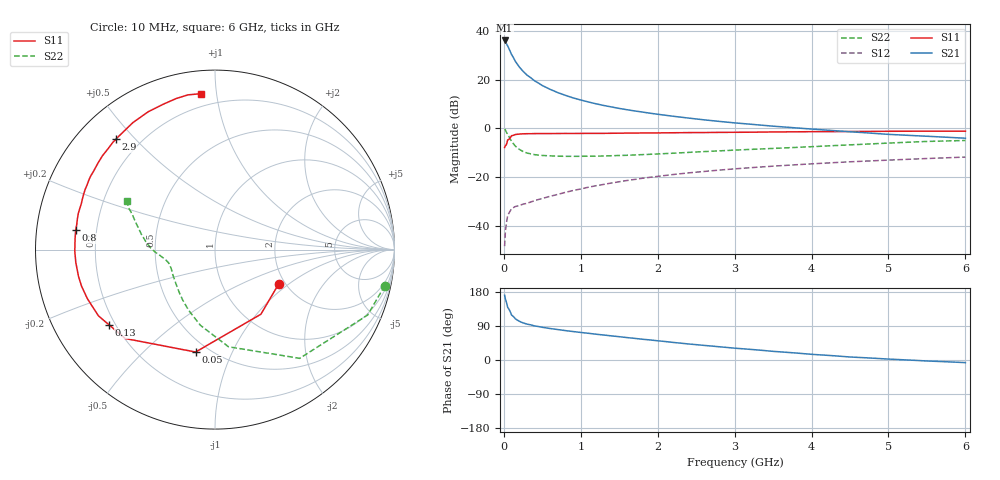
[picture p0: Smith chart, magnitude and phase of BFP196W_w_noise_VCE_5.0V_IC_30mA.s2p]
! Infineon Technologies  Discrete & RF Semiconductors
! BFP196W
! VCE =  5.0 V,  IC =  30 mA
! Common Emitter S-Parameters:  Jan 2017
# GHz  S  MA  R  50
!  f  S11  S21  S12  S22
! GHz  MAG  ANG  MAG  ANG  MAG  ANG  MAG  ANG
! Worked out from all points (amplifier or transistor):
!   77 points, 10 MHz to 6 GHz, reference 50 ohm
!   highest |S21| = 36.1 dB at 10 MHz (marker M1)
!   |S21| within 3 dB of that: start of sweep to 61.34 MHz
!   unconditionally stable (mu >= 1): 839.2 MHz to 3.268 GHz
!   at 130 MHz: K = 0.31, MSG = 30.6 dB, |S12| = -32.5 dB
!   at 2.2 GHz: K = 1.04, MAG = 10.7 dB, |S12| = -19.0 dB
!   at 6 GHz: K = 0.93, MSG = 3.9 dB, |S12| = -11.8 dB
!   lowest NFmin = 1.13 dB at 450 MHz
!   S11 on the Smith chart (normalised r, x): 10 MHz: 1.86, -0.84; 50 MHz: 0.43, -0.73; 130 MHz: 0.18, -0.31; 800 MHz: 0.12, +0.07; 2.9 GHz: 0.11, +0.44; 6 GHz: 0.12, +0.91
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0.01  0.4032 -28.0  63.7 170.9  0.0038 79.5  0.9668 -12.0
0.02  0.4416 -54.6  61.15 161.1  0.0075 78.3  0.9254 -23.2
0.05  0.5808 -100.7  49.2 139.0  0.0162 54.8  0.7679 -52.1
0.1  0.7042 -135.3  32.84 118.7  0.0223 41.7  0.5467 -82.1
0.13  0.7239 -144.6  27.23 113.5  0.0238 38.6  0.4704 -92.2
0.15  0.747 -150.4  23.68 108.6  0.0248 36.8  0.4301 -100.8
0.2  0.7619 -159.0  18.26 102.3  0.0259 36.9  0.3704 -113.1
0.25  0.771 -164.7  14.82 97.9  0.0277 37.8  0.3342 -122.5
0.3  0.775 -168.9  12.43 94.8  0.0288 38.9  0.3115 -129.6
0.4  0.7788 -174.7  9.439 89.9  0.0327 43.6  0.2878 -139.4
0.5  0.7811 -179.1  7.563 86.3  0.0363 46.4  0.277 -146.1
0.6  0.781 177.6  6.331 83.1  0.0401 48.9  0.272 -150.8
0.7  0.7822 174.9  5.423 80.4  0.0439 51.6  0.2676 -154.3
0.8  0.7837 172.0  4.754 77.6  0.0484 54.1  0.2661 -156.6
1.1  0.7878 165.1  3.473 70.5  0.0618 56.6  0.2676 -161.9
1.5  0.7945 157.0  2.56 61.5  0.0799 57.4  0.2765 -167.0
2.1  0.8074 145.5  1.855 48.7  0.1077 55.4  0.3025 -172.9
2.9  0.8263 132.0  1.339 33.1  0.1428 50.1  0.3505 179.7
3.1  0.8298 129.0  1.254 29.7  0.151 48.5  0.3625 177.7
4.1  0.8539 114.6  0.941 13.7  0.19 41.0  0.4266 166.9
5.1  0.8697 103.6  0.738 1.5  0.2257 33.3  0.5052 156.7
6  0.8723 95.2  0.626 -6.9  0.2567 26.3  0.5624 150.9
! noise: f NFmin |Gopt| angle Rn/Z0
0.45  1.13  0.45  178  0.05
0.9  1.29  0.52  -176  0.06
1.9  2.14  0.68  -151  0.13
2.4  2.54  0.73  -146  0.22
